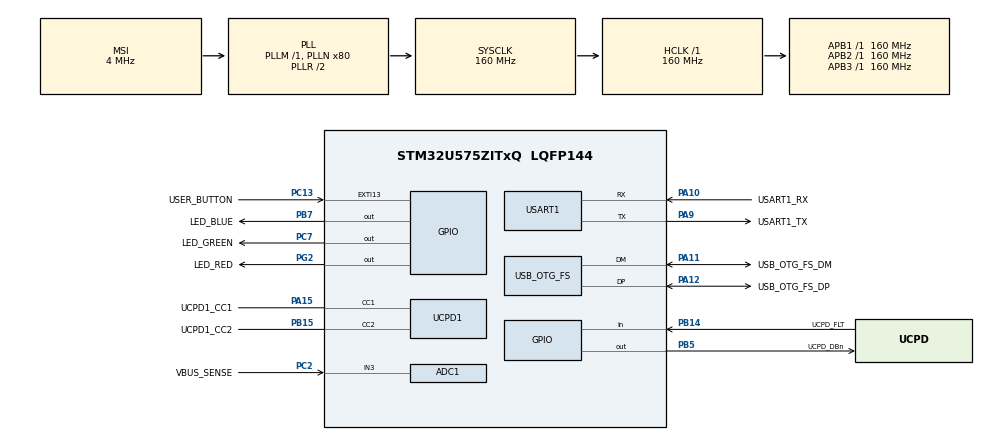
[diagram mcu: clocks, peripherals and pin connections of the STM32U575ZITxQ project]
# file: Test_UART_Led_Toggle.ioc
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ADC1.NbrOfConversion=1
ADC1.Resolution=ADC_RESOLUTION_14B
ADC1.master=1
CORTEX_M33_NS.userName=CORTEX_M33
Mcu.Family=STM32U5
Mcu.Name=STM32U575ZITxQ
Mcu.Package=LQFP144
NVIC.OTG_FS_IRQn=true\:0\:0\:false\:false\:true\:true\:true\:true
NVIC.PriorityGroup=NVIC_PRIORITYGROUP_3
NVIC.USART1_IRQn=true\:0\:0\:false\:false\:true\:true\:true\:true
PA10.GPIO_Label=USART1_RX
PA10.GPIO_PuPd=GPIO_PULLDOWN
PA10.GPIO_Speed=GPIO_SPEED_FREQ_VERY_HIGH
PA10.Mode=Asynchronous
PA10.Signal=USART1_RX
PA11.GPIO_Label=USB_OTG_FS_DM
PA11.GPIO_Speed=GPIO_SPEED_FREQ_VERY_HIGH
PA11.Mode=Device_Only
PA11.Signal=USB_OTG_FS_DM
PA12.GPIO_Label=USB_OTG_FS_DP
PA12.GPIO_Speed=GPIO_SPEED_FREQ_VERY_HIGH
PA12.Mode=Device_Only
PA12.Signal=USB_OTG_FS_DP
PA13\ (JTMS/SWDIO).Mode=Trace_Asynchronous_SW
PA13\ (JTMS/SWDIO).Signal=DEBUG_JTMS-SWDIO
PA14\ (JTCK/SWCLK).Mode=Trace_Asynchronous_SW
PA14\ (JTCK/SWCLK).Signal=DEBUG_JTCK-SWCLK
PA15\ (JTDI).GPIO_Label=UCPD1_CC1
PA15\ (JTDI).Mode=Sink_AllSignals
PA15\ (JTDI).Signal=UCPD1_CC1
PA9.GPIO_Label=USART1_TX
PA9.GPIO_PuPd=GPIO_PULLDOWN
PA9.GPIO_Speed=GPIO_SPEED_FREQ_VERY_HIGH
PA9.Mode=Asynchronous
PA9.Signal=USART1_TX
PB14.GPIO_Label=UCPD_FLT
PB14.Signal=GPIO_Input
PB15.GPIO_Label=UCPD1_CC2
PB15.Mode=Sink_AllSignals
PB15.Signal=UCPD1_CC2
PB3\ (JTDO/TRACESWO).Mode=Trace_Asynchronous_SW
PB3\ (JTDO/TRACESWO).Signal=DEBUG_JTDO-SWO
PB5.GPIO_Label=UCPD_DBn
PB5.Signal=GPIO_Output
PB7.GPIO_Label=LED_BLUE
PB7.GPIO_ModeDefaultOutputPP=GPIO_MODE_OUTPUT_PP
PB7.GPIO_PuPd=GPIO_PULLUP
PB7.GPIO_Speed=GPIO_SPEED_FREQ_HIGH
PB7.Signal=GPIO_Output
PC13.GPIO_Label=USER_BUTTON
PC13.GPIO_ModeDefaultEXTI=GPIO_MODE_IT_FALLING
PC13.Signal=GPXTI13
PC14-OSC32_IN\ (PC14).Mode=LSE-External-Oscillator
PC14-OSC32_IN\ (PC14).Signal=RCC_OSC32_IN
PC15-OSC32_OUT\ (PC15).Mode=LSE-External-Oscillator
PC15-OSC32_OUT\ (PC15).Signal=RCC_OSC32_OUT
PC2.GPIO_Label=VBUS_SENSE
PC2.Mode=IN3-Single-Ended
PC2.Signal=ADC1_IN3
PC7.GPIO_Label=LED_GREEN
PC7.GPIO_PuPd=GPIO_PULLUP
PC7.GPIO_Speed=GPIO_SPEED_FREQ_HIGH
PC7.Signal=GPIO_Output
PG2.GPIO_Label=LED_RED
PG2.GPIO_ModeDefaultOutputPP=GPIO_MODE_OUTPUT_PP
PG2.GPIO_PuPd=GPIO_PULLUP
PG2.GPIO_Speed=GPIO_SPEED_FREQ_HIGH
PG2.Signal=GPIO_Output
PWR.PowerMode=PWR_SMPS_SUPPLY
ProjectManager.HeapSize=0x200
ProjectManager.StackSize=0x400
ProjectManager.TargetToolchain=STM32CubeIDE
RCC.ADCFreq_Value=16000000
RCC.AHBFreq_Value=160000000
RCC.APB1Freq_Value=160000000
RCC.APB1TimFreq_Value=160000000
RCC.APB2Freq_Value=160000000
RCC.APB2TimFreq_Value=160000000
RCC.APB3Freq_Value=160000000
RCC.CortexFreq_Value=160000000
RCC.DACCLockSelectionVirtual=RCC_DAC1CLKSOURCE_LSI
RCC.EPOD_VALUE=4000000
RCC.HCLKFreq_Value=160000000
RCC.HSE_VALUE=16000000
RCC.HSI48_VALUE=48000000
RCC.HSI_VALUE=16000000
RCC.LSIDIV_VALUE=32000
RCC.MSI_VALUE=4000000
RCC.PLLN=80
RCC.SYSCLKFreq_VALUE=160000000
RCC.SYSCLKSource=RCC_SYSCLKSOURCE_PLLCLK
RCC.USBFreq_Value=48000000
RCC.VCOOutputFreq_Value=320000000
USART1.VirtualMode-Asynchronous=VM_ASYNC
USB_OTG_FS.VirtualMode=Device_Only
VP_ICACHE_VS_ENABLE_ICACHE_MEMORY.Mode=Memoryregions
VP_ICACHE_VS_ICACHE.Mode=DirectMappedCache
VP_LPBAMQUEUE_VS_QUEUE.Mode=QUEUEMODE
VP_LPBAM_VS_SIG1.Mode=SmartRun
VP_LPBAM_VS_SIG4.Mode=LPDMA1
VP_MEMORYMAP_VS_MEMORYMAP.Mode=CurAppReg
VP_PWR_VS_DBSignals.Mode=DisableDeadBatterySignals
VP_PWR_VS_LPOM.Mode=PowerOptimisation
VP_PWR_VS_SECSignals.Mode=Security/Privilege
VP_PWR_Vdda.Mode=isolationVdda
board=NUCLEO-U575ZI-Q

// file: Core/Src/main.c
/* USER CODE BEGIN Header */
/**
  ******************************************************************************
  * @file           : main.c
  * @brief          : Main program body
  ******************************************************************************
  * @attention
  *
  * Copyright (c) 2024 STMicroelectronics.
  * All rights reserved.
  *
  * This software is licensed under terms that can be found in the LICENSE file
  * in the root directory of this software component.
  * If no LICENSE file comes with this software, it is provided AS-IS.
  *
  ******************************************************************************
  */
/* USER CODE END Header */
#include "main.h"
#include <stdio.h>
#include <stdlib.h>
#include <string.h>

ADC_HandleTypeDef hadc1;

UART_HandleTypeDef huart1;

PCD_HandleTypeDef hpcd_USB_OTG_FS;

/* USER CODE BEGIN PV */
uint8_t rx_buffer[1];
uint8_t input_buffer[64];
uint8_t input_index = 0;
uint8_t led_on = 0;
/* USER CODE END PV */

void SystemClock_Config(void);
static void SystemPower_Config(void);
static void MX_GPIO_Init(void);
static void MX_ADC1_Init(void);
static void MX_ICACHE_Init(void);
static void MX_UCPD1_Init(void);
static void MX_USART1_UART_Init(void);
static void MX_USB_OTG_FS_PCD_Init(void);
/* USER CODE BEGIN PFP */
void process_command(const char *buffer);
/* USER CODE END PFP */

/* USER CODE BEGIN 0 */
void HAL_UART_RxCpltCallback(UART_HandleTypeDef *huart)
{
  if (huart->Instance == USART1) {
	  if (rx_buffer[0] =='\r') { // Checking if the user has pressed Enter...
//		  HAL_UART_Transmit_IT(&huart1, (uint8_t*)"Invio Premuto!\n\r", 16);
		  input_buffer[input_index] = '\0';
		  process_command((char *)input_buffer);

		  // Resetting input buffer...
		  memset(input_buffer, 0, sizeof(input_buffer));
		  input_index = 0;
	  } else {
//		  HAL_UART_Transmit_IT(&huart1, rx_buffer, sizeof(rx_buffer));
		  input_buffer[input_index++] = rx_buffer[0]; // ... else concat the chars that the user is inserting (one byte at a time)
	  }
	  /*
	  	   * The following instruction activates back the reception. In fact, every time it finishes reading the input bytes, the Interrupt Mode
	  	   * gets disabled by default so, in order to be able to receive new data, I have to turn it back on.
	  */
	  HAL_UART_Receive_IT(&huart1, rx_buffer, sizeof(rx_buffer));
  }
}

void process_command(const char *buffer) {
	char *msg;
	if (strcmp(buffer, "LED ON") == 0) {
		if (!led_on) {
			HAL_GPIO_WritePin(LED_BLUE_GPIO_Port, LED_BLUE_Pin, GPIO_PIN_SET);
			led_on = 1;
		}
	}else if (strcmp(buffer, "LED OFF") == 0) {
		if (led_on) {
			HAL_GPIO_WritePin(LED_BLUE_GPIO_Port, LED_BLUE_Pin, GPIO_PIN_RESET);
			led_on = 0;
		}
	} else {
		msg ="Command unknown\n\r";
		HAL_UART_Transmit_IT(&huart1, (uint8_t *)msg, strlen(msg));
	}
}
/* USER CODE END 0 */

int main(void)
{

  /* MCU Configuration--------------------------------------------------------*/

  /* Reset of all peripherals, Initializes the Flash interface and the Systick. */
  HAL_Init();

  /* Configure the system clock */
  SystemClock_Config();

  /* Configure the System Power */
  SystemPower_Config();

  /* Initialize all configured peripherals */
  MX_GPIO_Init();
  MX_ADC1_Init();
  MX_ICACHE_Init();
  MX_UCPD1_Init();
  MX_USART1_UART_Init();
  MX_USB_OTG_FS_PCD_Init();
  /* USER CODE BEGIN 2 */
  HAL_UART_Receive_IT(&huart1, rx_buffer, sizeof(rx_buffer));
  /* USER CODE END 2 */

  /* Infinite loop */
  while (1)
  {

  }
}

void SystemClock_Config(void)
{
  RCC_OscInitTypeDef RCC_OscInitStruct = {0};
  RCC_ClkInitTypeDef RCC_ClkInitStruct = {0};

  /** Configure the main internal regulator output voltage
  */
  if (HAL_PWREx_ControlVoltageScaling(PWR_REGULATOR_VOLTAGE_SCALE1) != HAL_OK)
  {
    Error_Handler();
  }

  /** Initializes the CPU, AHB and APB buses clocks
  */
  RCC_OscInitStruct.OscillatorType = RCC_OSCILLATORTYPE_HSI48|RCC_OSCILLATORTYPE_HSI
                              |RCC_OSCILLATORTYPE_MSI;
  RCC_OscInitStruct.HSIState = RCC_HSI_ON;
  RCC_OscInitStruct.HSI48State = RCC_HSI48_ON;
  RCC_OscInitStruct.HSICalibrationValue = RCC_HSICALIBRATION_DEFAULT;
  RCC_OscInitStruct.MSIState = RCC_MSI_ON;
  RCC_OscInitStruct.MSICalibrationValue = RCC_MSICALIBRATION_DEFAULT;
  RCC_OscInitStruct.MSIClockRange = RCC_MSIRANGE_4;
  RCC_OscInitStruct.PLL.PLLState = RCC_PLL_ON;
  RCC_OscInitStruct.PLL.PLLSource = RCC_PLLSOURCE_MSI;
  RCC_OscInitStruct.PLL.PLLMBOOST = RCC_PLLMBOOST_DIV1;
  RCC_OscInitStruct.PLL.PLLM = 1;
  RCC_OscInitStruct.PLL.PLLN = 80;
  RCC_OscInitStruct.PLL.PLLP = 2;
  RCC_OscInitStruct.PLL.PLLQ = 2;
  RCC_OscInitStruct.PLL.PLLR = 2;
  RCC_OscInitStruct.PLL.PLLRGE = RCC_PLLVCIRANGE_0;
  RCC_OscInitStruct.PLL.PLLFRACN = 0;
  if (HAL_RCC_OscConfig(&RCC_OscInitStruct) != HAL_OK)
  {
    Error_Handler();
  }

  /** Initializes the CPU, AHB and APB buses clocks
  */
  RCC_ClkInitStruct.ClockType = RCC_CLOCKTYPE_HCLK|RCC_CLOCKTYPE_SYSCLK
                              |RCC_CLOCKTYPE_PCLK1|RCC_CLOCKTYPE_PCLK2
                              |RCC_CLOCKTYPE_PCLK3;
  RCC_ClkInitStruct.SYSCLKSource = RCC_SYSCLKSOURCE_PLLCLK;
  RCC_ClkInitStruct.AHBCLKDivider = RCC_SYSCLK_DIV1;
  RCC_ClkInitStruct.APB1CLKDivider = RCC_HCLK_DIV1;
  RCC_ClkInitStruct.APB2CLKDivider = RCC_HCLK_DIV1;
  RCC_ClkInitStruct.APB3CLKDivider = RCC_HCLK_DIV1;

  if (HAL_RCC_ClockConfig(&RCC_ClkInitStruct, FLASH_LATENCY_4) != HAL_OK)
  {
    Error_Handler();
  }
}

/**
  * @brief Power Configuration
  * @retval None
  */
static void SystemPower_Config(void)
{
  HAL_PWREx_EnableVddIO2();

  /*
   * Switch to SMPS regulator instead of LDO
   */
  if (HAL_PWREx_ConfigSupply(PWR_SMPS_SUPPLY) != HAL_OK)
  {
    Error_Handler();
  }
}

static void MX_ADC1_Init(void)
{

  /** Common config
  */
  hadc1.Instance = ADC1;
  hadc1.Init.ClockPrescaler = ADC_CLOCK_ASYNC_DIV1;
  hadc1.Init.Resolution = ADC_RESOLUTION_14B;
  hadc1.Init.GainCompensation = 0;
  hadc1.Init.ScanConvMode = ADC_SCAN_DISABLE;
  hadc1.Init.EOCSelection = ADC_EOC_SINGLE_CONV;
  hadc1.Init.LowPowerAutoWait = DISABLE;
  hadc1.Init.ContinuousConvMode = DISABLE;
  hadc1.Init.NbrOfConversion = 1;
  hadc1.Init.DiscontinuousConvMode = DISABLE;
  hadc1.Init.DMAContinuousRequests = DISABLE;
  hadc1.Init.TriggerFrequencyMode = ADC_TRIGGER_FREQ_HIGH;
  hadc1.Init.Overrun = ADC_OVR_DATA_PRESERVED;
  hadc1.Init.LeftBitShift = ADC_LEFTBITSHIFT_NONE;
  hadc1.Init.ConversionDataManagement = ADC_CONVERSIONDATA_DR;
  hadc1.Init.OversamplingMode = DISABLE;
  if (HAL_ADC_Init(&hadc1) != HAL_OK)
  {
    Error_Handler();
  }

}

static void MX_ICACHE_Init(void)
{

  /** Enable instruction cache in 1-way (direct mapped cache)
  */
  if (HAL_ICACHE_ConfigAssociativityMode(ICACHE_1WAY) != HAL_OK)
  {
    Error_Handler();
  }
  if (HAL_ICACHE_Enable() != HAL_OK)
  {
    Error_Handler();
  }

}

static void MX_UCPD1_Init(void)
{

  LL_GPIO_InitTypeDef GPIO_InitStruct = {0};

  /* Peripheral clock enable */
  LL_APB1_GRP2_EnableClock(LL_APB1_GRP2_PERIPH_UCPD1);

  LL_AHB2_GRP1_EnableClock(LL_AHB2_GRP1_PERIPH_GPIOB);
  LL_AHB2_GRP1_EnableClock(LL_AHB2_GRP1_PERIPH_GPIOA);
  /**UCPD1 GPIO Configuration
  PB15   ------> UCPD1_CC2
  PA15 (JTDI)   ------> UCPD1_CC1
  */
  GPIO_InitStruct.Pin = LL_GPIO_PIN_15;
  GPIO_InitStruct.Mode = LL_GPIO_MODE_ANALOG;
  GPIO_InitStruct.Pull = LL_GPIO_PULL_NO;
  LL_GPIO_Init(GPIOB, &GPIO_InitStruct);

  GPIO_InitStruct.Pin = LL_GPIO_PIN_15;
  GPIO_InitStruct.Mode = LL_GPIO_MODE_ANALOG;
  GPIO_InitStruct.Pull = LL_GPIO_PULL_NO;
  LL_GPIO_Init(GPIOA, &GPIO_InitStruct);

}

static void MX_USART1_UART_Init(void)
{

  huart1.Instance = USART1;
  huart1.Init.BaudRate = 115200;
  huart1.Init.WordLength = UART_WORDLENGTH_8B;
  huart1.Init.StopBits = UART_STOPBITS_1;
  huart1.Init.Parity = UART_PARITY_NONE;
  huart1.Init.Mode = UART_MODE_TX_RX;
  huart1.Init.HwFlowCtl = UART_HWCONTROL_NONE;
  huart1.Init.OverSampling = UART_OVERSAMPLING_16;
  huart1.Init.OneBitSampling = UART_ONE_BIT_SAMPLE_DISABLE;
  huart1.Init.ClockPrescaler = UART_PRESCALER_DIV1;
  huart1.AdvancedInit.AdvFeatureInit = UART_ADVFEATURE_NO_INIT;
  if (HAL_UART_Init(&huart1) != HAL_OK)
  {
    Error_Handler();
  }
  if (HAL_UARTEx_SetTxFifoThreshold(&huart1, UART_TXFIFO_THRESHOLD_1_8) != HAL_OK)
  {
    Error_Handler();
  }
  if (HAL_UARTEx_SetRxFifoThreshold(&huart1, UART_RXFIFO_THRESHOLD_1_8) != HAL_OK)
  {
    Error_Handler();
  }
  if (HAL_UARTEx_DisableFifoMode(&huart1) != HAL_OK)
  {
    Error_Handler();
  }

}

static void MX_USB_OTG_FS_PCD_Init(void)
{

  hpcd_USB_OTG_FS.Instance = USB_OTG_FS;
  hpcd_USB_OTG_FS.Init.dev_endpoints = 6;
  hpcd_USB_OTG_FS.Init.speed = PCD_SPEED_FULL;
  hpcd_USB_OTG_FS.Init.phy_itface = PCD_PHY_EMBEDDED;
  hpcd_USB_OTG_FS.Init.Sof_enable = DISABLE;
  hpcd_USB_OTG_FS.Init.low_power_enable = DISABLE;
  hpcd_USB_OTG_FS.Init.lpm_enable = DISABLE;
  hpcd_USB_OTG_FS.Init.battery_charging_enable = DISABLE;
  hpcd_USB_OTG_FS.Init.use_dedicated_ep1 = DISABLE;
  hpcd_USB_OTG_FS.Init.vbus_sensing_enable = DISABLE;
  hpcd_USB_OTG_FS.Init.dma_enable = DISABLE;
  if (HAL_PCD_Init(&hpcd_USB_OTG_FS) != HAL_OK)
  {
    Error_Handler();
  }

}

static void MX_GPIO_Init(void)
{
  GPIO_InitTypeDef GPIO_InitStruct = {0};

  /* GPIO Ports Clock Enable */
  __HAL_RCC_GPIOC_CLK_ENABLE();
  __HAL_RCC_GPIOB_CLK_ENABLE();
  __HAL_RCC_GPIOG_CLK_ENABLE();
  __HAL_RCC_GPIOA_CLK_ENABLE();

  /*Configure GPIO pin Output Level */
  HAL_GPIO_WritePin(LED_RED_GPIO_Port, LED_RED_Pin, GPIO_PIN_RESET);

  /*Configure GPIO pin Output Level */
  HAL_GPIO_WritePin(LED_GREEN_GPIO_Port, LED_GREEN_Pin, GPIO_PIN_RESET);

  /*Configure GPIO pin Output Level */
  HAL_GPIO_WritePin(GPIOB, UCPD_DBn_Pin|LED_BLUE_Pin, GPIO_PIN_RESET);

  /*Configure GPIO pin : USER_BUTTON_Pin */
  GPIO_InitStruct.Pin = USER_BUTTON_Pin;
  GPIO_InitStruct.Mode = GPIO_MODE_IT_FALLING;
  GPIO_InitStruct.Pull = GPIO_NOPULL;
  HAL_GPIO_Init(USER_BUTTON_GPIO_Port, &GPIO_InitStruct);

  /*Configure GPIO pin : UCPD_FLT_Pin */
  GPIO_InitStruct.Pin = UCPD_FLT_Pin;
  GPIO_InitStruct.Mode = GPIO_MODE_INPUT;
  GPIO_InitStruct.Pull = GPIO_NOPULL;
  HAL_GPIO_Init(UCPD_FLT_GPIO_Port, &GPIO_InitStruct);

  /*Configure GPIO pin : LED_RED_Pin */
  GPIO_InitStruct.Pin = LED_RED_Pin;
  GPIO_InitStruct.Mode = GPIO_MODE_OUTPUT_PP;
  GPIO_InitStruct.Pull = GPIO_PULLUP;
  GPIO_InitStruct.Speed = GPIO_SPEED_FREQ_HIGH;
  HAL_GPIO_Init(LED_RED_GPIO_Port, &GPIO_InitStruct);

  /*Configure GPIO pin : LED_GREEN_Pin */
  GPIO_InitStruct.Pin = LED_GREEN_Pin;
  GPIO_InitStruct.Mode = GPIO_MODE_OUTPUT_PP;
  GPIO_InitStruct.Pull = GPIO_PULLUP;
  GPIO_InitStruct.Speed = GPIO_SPEED_FREQ_HIGH;
  HAL_GPIO_Init(LED_GREEN_GPIO_Port, &GPIO_InitStruct);

  /*Configure GPIO pin : UCPD_DBn_Pin */
  GPIO_InitStruct.Pin = UCPD_DBn_Pin;
  GPIO_InitStruct.Mode = GPIO_MODE_OUTPUT_PP;
  GPIO_InitStruct.Pull = GPIO_NOPULL;
  GPIO_InitStruct.Speed = GPIO_SPEED_FREQ_LOW;
  HAL_GPIO_Init(UCPD_DBn_GPIO_Port, &GPIO_InitStruct);

  /*Configure GPIO pin : LED_BLUE_Pin */
  GPIO_InitStruct.Pin = LED_BLUE_Pin;
  GPIO_InitStruct.Mode = GPIO_MODE_OUTPUT_PP;
  GPIO_InitStruct.Pull = GPIO_PULLUP;
  GPIO_InitStruct.Speed = GPIO_SPEED_FREQ_HIGH;
  HAL_GPIO_Init(LED_BLUE_GPIO_Port, &GPIO_InitStruct);

}

void Error_Handler(void)
{
  __disable_irq();
  while (1)
  {
  }
}
